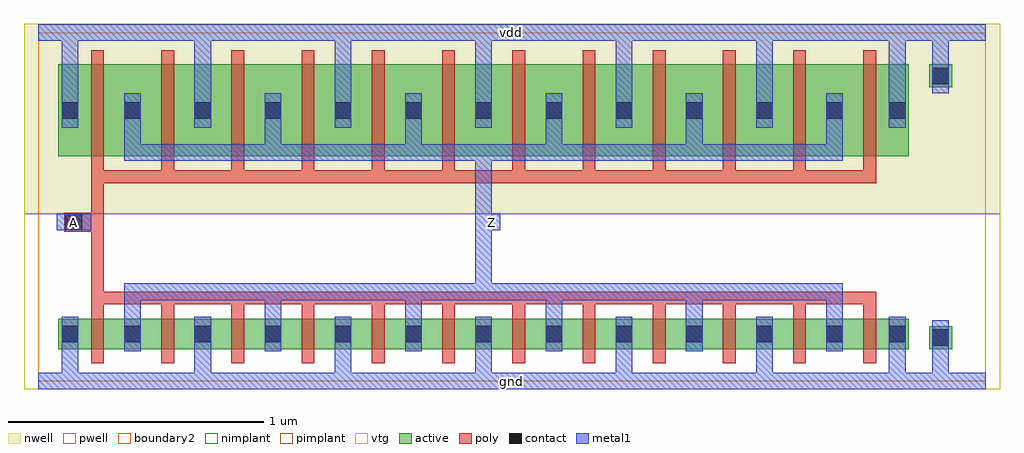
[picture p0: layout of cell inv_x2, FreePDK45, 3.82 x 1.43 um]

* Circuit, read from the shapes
.subckt inv_x2 A Z gnd vdd
M1 Z A gnd gnd nfet w=0.12u l=0.05u m=12
M2 Z A vdd vdd pfet w=0.36u l=0.05u m=12
.ends

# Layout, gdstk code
import gdstk
lib = gdstk.Library(unit=1e-6, precision=5e-10)
def R(c, l, rs):  # rectangles x0, y0, x1, y1
    for r in rs: c.add(gdstk.rectangle(r[:2], r[2:], *l))
def A(c, l, x, y, w, h, nx, ny, dx, dy):  # array of equal rectangles
    R(c, l, [(x+i*dx, y+j*dy, x+i*dx+w, y+j*dy+h) for i in range(nx) for j in range(ny)])
active = (1, 0)
pwell = (2, 0)
nwell = (3, 0)
nimplant = (4, 0)
pimplant = (5, 0)
vtg = (6, 0)
poly = (9, 0)
contact = (10, 0)
metal1 = (11, 0)
boundary2 = (239, 0)

sram_1rw0r0w_8_256_freep = lib.new_cell('sram_1rw0r0w_8_256_freepdk45_contact_11')
R(sram_1rw0r0w_8_256_freep, active, [(0,0.0225,0.09,0.1125)])
R(sram_1rw0r0w_8_256_freep, nwell, [(-0.055,-0.0325,0.145,0.1675)])
R(sram_1rw0r0w_8_256_freep, pimplant, [(0,0.0225,0.09,0.1125)])
R(sram_1rw0r0w_8_256_freep, contact, [(0.0125,0.035,0.0775,0.1)])
R(sram_1rw0r0w_8_256_freep, metal1, [(0.0125,0,0.0775,0.135)])
R(sram_1rw0r0w_8_256_freep, boundary2, [(-0.055,-0.0325,0.145,0.1675)])

c_sram_1rw0r0w_8_256_freep = lib.new_cell('sram_1rw0r0w_8_256_freepdk45_pmos_m12_w0_360_sm1_dm1_da_p')
R(c_sram_1rw0r0w_8_256_freep, active, [(0,0,3.33,0.36)])
R(c_sram_1rw0r0w_8_256_freep, nwell, [(-0.08,-0.08,3.41,0.44)])
R(c_sram_1rw0r0w_8_256_freep, pimplant, [(0,0,3.33,0.36)])
R(c_sram_1rw0r0w_8_256_freep, vtg, [(-0.08,-0.08,3.41,0.44)])
A(c_sram_1rw0r0w_8_256_freep, poly, 0.1275, -0.055, 0.05, 0.47, 12, 1, 0.275, 0)
R(c_sram_1rw0r0w_8_256_freep, poly, [(0.1275,-0.105,3.2025,-0.055)])
A(c_sram_1rw0r0w_8_256_freep, metal1, 0.2575, 0.015, 0.065, 0.165, 6, 1, 0.55, 0)
A(c_sram_1rw0r0w_8_256_freep, metal1, 0.5325, 0.1125, 0.065, 0.135, 5, 1, 0.55, 0)
R(c_sram_1rw0r0w_8_256_freep, metal1, [(0.2575,-0.0175,3.0725,0.0475), (0.0125,0.1125,0.0775,0.2475), (3.2525,0.1125,3.3175,0.2475)])
R(c_sram_1rw0r0w_8_256_freep, boundary2, [(-0.08,-0.105,3.41,0.44)])
c_sram_1rw0r0w_8_256_freep.add(gdstk.Reference(sram_1rw0r0w_8_256_freep, (0,0.1125)))
c_sram_1rw0r0w_8_256_freep.add(gdstk.Reference(sram_1rw0r0w_8_256_freep, (0.245,0.1125)))
c_sram_1rw0r0w_8_256_freep.add(gdstk.Reference(sram_1rw0r0w_8_256_freep, (0.52,0.1125)))
c_sram_1rw0r0w_8_256_freep.add(gdstk.Reference(sram_1rw0r0w_8_256_freep, (0.795,0.1125)))
c_sram_1rw0r0w_8_256_freep.add(gdstk.Reference(sram_1rw0r0w_8_256_freep, (1.07,0.1125)))
c_sram_1rw0r0w_8_256_freep.add(gdstk.Reference(sram_1rw0r0w_8_256_freep, (1.345,0.1125)))
c_sram_1rw0r0w_8_256_freep.add(gdstk.Reference(sram_1rw0r0w_8_256_freep, (1.62,0.1125)))
c_sram_1rw0r0w_8_256_freep.add(gdstk.Reference(sram_1rw0r0w_8_256_freep, (1.895,0.1125)))
c_sram_1rw0r0w_8_256_freep.add(gdstk.Reference(sram_1rw0r0w_8_256_freep, (2.17,0.1125)))
c_sram_1rw0r0w_8_256_freep.add(gdstk.Reference(sram_1rw0r0w_8_256_freep, (2.445,0.1125)))
c_sram_1rw0r0w_8_256_freep.add(gdstk.Reference(sram_1rw0r0w_8_256_freep, (2.72,0.1125)))
c_sram_1rw0r0w_8_256_freep.add(gdstk.Reference(sram_1rw0r0w_8_256_freep, (2.995,0.1125)))
c_sram_1rw0r0w_8_256_freep.add(gdstk.Reference(sram_1rw0r0w_8_256_freep, (3.24,0.1125)))
c_sram_1rw0r0w_8_256_freep.add(gdstk.Label('G', (1.665,-0.08), layer=9, texttype=0))
c_sram_1rw0r0w_8_256_freep.add(gdstk.Label('S', (2.765,0.18), layer=11, texttype=0))
c_sram_1rw0r0w_8_256_freep.add(gdstk.Label('S', (0.045,0.18), layer=11, texttype=0))
c_sram_1rw0r0w_8_256_freep.add(gdstk.Label('S', (1.115,0.18), layer=11, texttype=0))
c_sram_1rw0r0w_8_256_freep.add(gdstk.Label('S', (1.665,0.18), layer=11, texttype=0))
c_sram_1rw0r0w_8_256_freep.add(gdstk.Label('S', (3.285,0.18), layer=11, texttype=0))
c_sram_1rw0r0w_8_256_freep.add(gdstk.Label('S', (0.565,0.18), layer=11, texttype=0))
c_sram_1rw0r0w_8_256_freep.add(gdstk.Label('S', (2.215,0.18), layer=11, texttype=0))
c_sram_1rw0r0w_8_256_freep.add(gdstk.Label('D', (1.665,0.015), layer=11, texttype=0))

c_sram_1rw0r0w_8_256_freep_ = lib.new_cell('sram_1rw0r0w_8_256_freepdk45_contact_10')
R(c_sram_1rw0r0w_8_256_freep_, active, [(0,0.0225,0.09,0.1125)])
R(c_sram_1rw0r0w_8_256_freep_, pwell, [(-0.055,-0.0325,0.145,0.1675)])
R(c_sram_1rw0r0w_8_256_freep_, nimplant, [(0,0.0225,0.09,0.1125)])
R(c_sram_1rw0r0w_8_256_freep_, contact, [(0.0125,0.035,0.0775,0.1)])
R(c_sram_1rw0r0w_8_256_freep_, metal1, [(0.0125,0,0.0775,0.135)])
R(c_sram_1rw0r0w_8_256_freep_, boundary2, [(-0.055,-0.0325,0.145,0.1675)])

c_sram_1rw0r0w_8_256_freep__ = lib.new_cell('sram_1rw0r0w_8_256_freepdk45_nmos_m12_w0_120_sm1_dm1_da_p')
R(c_sram_1rw0r0w_8_256_freep__, active, [(0,0,3.33,0.12)])
R(c_sram_1rw0r0w_8_256_freep__, pwell, [(-0.08,-0.08,3.41,0.2)])
R(c_sram_1rw0r0w_8_256_freep__, nimplant, [(0,0,3.33,0.12)])
R(c_sram_1rw0r0w_8_256_freep__, vtg, [(-0.08,-0.08,3.41,0.2)])
A(c_sram_1rw0r0w_8_256_freep__, poly, 0.1275, -0.055, 0.05, 0.23, 12, 1, 0.275, 0)
R(c_sram_1rw0r0w_8_256_freep__, poly, [(0.1275,0.175,3.2025,0.225)])
A(c_sram_1rw0r0w_8_256_freep__, metal1, 0.5325, -0.0075, 0.065, 0.135, 5, 1, 0.55, 0)
A(c_sram_1rw0r0w_8_256_freep__, metal1, 0.2575, 0.06, 0.065, 0.165, 6, 1, 0.55, 0)
R(c_sram_1rw0r0w_8_256_freep__, metal1, [(0.0125,-0.0075,0.0775,0.1275), (3.2525,-0.0075,3.3175,0.1275), (0.2575,0.1925,3.0725,0.2575)])
R(c_sram_1rw0r0w_8_256_freep__, boundary2, [(-0.08,-0.08,3.41,0.2575)])
c_sram_1rw0r0w_8_256_freep__.add(gdstk.Reference(c_sram_1rw0r0w_8_256_freep_, (0,-0.0075)))
c_sram_1rw0r0w_8_256_freep__.add(gdstk.Reference(c_sram_1rw0r0w_8_256_freep_, (0.245,-0.0075)))
c_sram_1rw0r0w_8_256_freep__.add(gdstk.Reference(c_sram_1rw0r0w_8_256_freep_, (0.52,-0.0075)))
c_sram_1rw0r0w_8_256_freep__.add(gdstk.Reference(c_sram_1rw0r0w_8_256_freep_, (0.795,-0.0075)))
c_sram_1rw0r0w_8_256_freep__.add(gdstk.Reference(c_sram_1rw0r0w_8_256_freep_, (1.07,-0.0075)))
c_sram_1rw0r0w_8_256_freep__.add(gdstk.Reference(c_sram_1rw0r0w_8_256_freep_, (1.345,-0.0075)))
c_sram_1rw0r0w_8_256_freep__.add(gdstk.Reference(c_sram_1rw0r0w_8_256_freep_, (1.62,-0.0075)))
c_sram_1rw0r0w_8_256_freep__.add(gdstk.Reference(c_sram_1rw0r0w_8_256_freep_, (1.895,-0.0075)))
c_sram_1rw0r0w_8_256_freep__.add(gdstk.Reference(c_sram_1rw0r0w_8_256_freep_, (2.17,-0.0075)))
c_sram_1rw0r0w_8_256_freep__.add(gdstk.Reference(c_sram_1rw0r0w_8_256_freep_, (2.445,-0.0075)))
c_sram_1rw0r0w_8_256_freep__.add(gdstk.Reference(c_sram_1rw0r0w_8_256_freep_, (2.72,-0.0075)))
c_sram_1rw0r0w_8_256_freep__.add(gdstk.Reference(c_sram_1rw0r0w_8_256_freep_, (2.995,-0.0075)))
c_sram_1rw0r0w_8_256_freep__.add(gdstk.Reference(c_sram_1rw0r0w_8_256_freep_, (3.24,-0.0075)))
c_sram_1rw0r0w_8_256_freep__.add(gdstk.Label('G', (1.665,0.2), layer=9, texttype=0))
c_sram_1rw0r0w_8_256_freep__.add(gdstk.Label('S', (1.665,0.06), layer=11, texttype=0))
c_sram_1rw0r0w_8_256_freep__.add(gdstk.Label('S', (2.215,0.06), layer=11, texttype=0))
c_sram_1rw0r0w_8_256_freep__.add(gdstk.Label('S', (3.285,0.06), layer=11, texttype=0))
c_sram_1rw0r0w_8_256_freep__.add(gdstk.Label('S', (2.765,0.06), layer=11, texttype=0))
c_sram_1rw0r0w_8_256_freep__.add(gdstk.Label('S', (1.115,0.06), layer=11, texttype=0))
c_sram_1rw0r0w_8_256_freep__.add(gdstk.Label('S', (0.045,0.06), layer=11, texttype=0))
c_sram_1rw0r0w_8_256_freep__.add(gdstk.Label('S', (0.565,0.06), layer=11, texttype=0))
c_sram_1rw0r0w_8_256_freep__.add(gdstk.Label('D', (1.665,0.225), layer=11, texttype=0))

c_sram_1rw0r0w_8_256_freep___ = lib.new_cell('sram_1rw0r0w_8_256_freepdk45_contact_12')
R(c_sram_1rw0r0w_8_256_freep___, active, [(0,0.0225,0.09,0.1125)])
R(c_sram_1rw0r0w_8_256_freep___, nwell, [(-0.055,-0.0325,0.145,0.1675)])
R(c_sram_1rw0r0w_8_256_freep___, nimplant, [(0,0.0225,0.09,0.1125)])
R(c_sram_1rw0r0w_8_256_freep___, contact, [(0.0125,0.035,0.0775,0.1)])
R(c_sram_1rw0r0w_8_256_freep___, metal1, [(0.0125,0,0.0775,0.135)])
R(c_sram_1rw0r0w_8_256_freep___, boundary2, [(-0.055,-0.0325,0.145,0.1675)])

c_sram_1rw0r0w_8_256_freep____ = lib.new_cell('sram_1rw0r0w_8_256_freepdk45_contact_13')
R(c_sram_1rw0r0w_8_256_freep____, active, [(0,0.0225,0.09,0.1125)])
R(c_sram_1rw0r0w_8_256_freep____, pwell, [(-0.055,-0.0325,0.145,0.1675)])
R(c_sram_1rw0r0w_8_256_freep____, pimplant, [(0,0.0225,0.09,0.1125)])
R(c_sram_1rw0r0w_8_256_freep____, contact, [(0.0125,0.035,0.0775,0.1)])
R(c_sram_1rw0r0w_8_256_freep____, metal1, [(0.0125,0,0.0775,0.135)])
R(c_sram_1rw0r0w_8_256_freep____, boundary2, [(-0.055,-0.0325,0.145,0.1675)])

c_sram_1rw0r0w_8_256_freep_____ = lib.new_cell('sram_1rw0r0w_8_256_freepdk45_contact_14')
R(c_sram_1rw0r0w_8_256_freep_____, poly, [(0.03,0,0.105,0.075)])
R(c_sram_1rw0r0w_8_256_freep_____, contact, [(0.035,0.005,0.1,0.07)])
R(c_sram_1rw0r0w_8_256_freep_____, metal1, [(0,0.005,0.135,0.07)])
R(c_sram_1rw0r0w_8_256_freep_____, boundary2, [(0,0,0.135,0.075)])

inv_x2 = lib.new_cell('inv_x2')
R(inv_x2, pwell, [(-0.055,-0.0325,3.7675,0.655)])
R(inv_x2, nwell, [(-0.055,0.655,3.7675,1.4)])
R(inv_x2, vtg, [(-0.055,-0.0325,3.7675,0.655), (-0.055,0.655,3.7675,1.4)])
R(inv_x2, poly, [(0.2075,0.35,0.2575,0.775), (0.14,0.585,0.2075,0.66)])
A(inv_x2, metal1, 0.6125, -0.0325, 0.065, 0.15, 5, 1, 0.55, 0)
A(inv_x2, metal1, 0.6125, 0.9925, 0.065, 0.405, 5, 1, 0.55, 0)
R(inv_x2, metal1, [(0,-0.0325,3.7125,0.0325), (0.0925,-0.0325,0.1575,0.1175), (3.3325,-0.0325,3.3975,0.1175), (3.5025,0,3.5675,0.17), (1.7125,0.3175,1.7775,0.9275), (0.0725,0.59,0.2075,0.655), (1.745,0.59,1.81,0.655), (0.0925,0.9925,0.1575,1.3975), (3.3325,0.9925,3.3975,1.3975), (3.5025,1.195,3.5675,1.365), (0,1.3325,3.7125,1.3975)])
R(inv_x2, boundary2, [(0,0,3.7125,1.365), (0,0,3.7125,1.365)])
inv_x2.add(gdstk.Reference(c_sram_1rw0r0w_8_256_freep, (0.08,0.88)))
inv_x2.add(gdstk.Reference(c_sram_1rw0r0w_8_256_freep__, (0.08,0.125)))
inv_x2.add(gdstk.Reference(c_sram_1rw0r0w_8_256_freep___, (3.49,1.1275)))
inv_x2.add(gdstk.Reference(c_sram_1rw0r0w_8_256_freep____, (3.49,0.1025)))
inv_x2.add(gdstk.Reference(c_sram_1rw0r0w_8_256_freep_____, (0.0725,0.585)))
inv_x2.add(gdstk.Label('A', (0.14,0.6225), layer=11, texttype=0))
inv_x2.add(gdstk.Label('Z', (1.7775,0.6225), layer=11, texttype=0))
inv_x2.add(gdstk.Label('gnd', (1.856,0), layer=11, texttype=0))
inv_x2.add(gdstk.Label('vdd', (1.856,1.365), layer=11, texttype=0))

lib.write_gds('inv_x2.gds')
